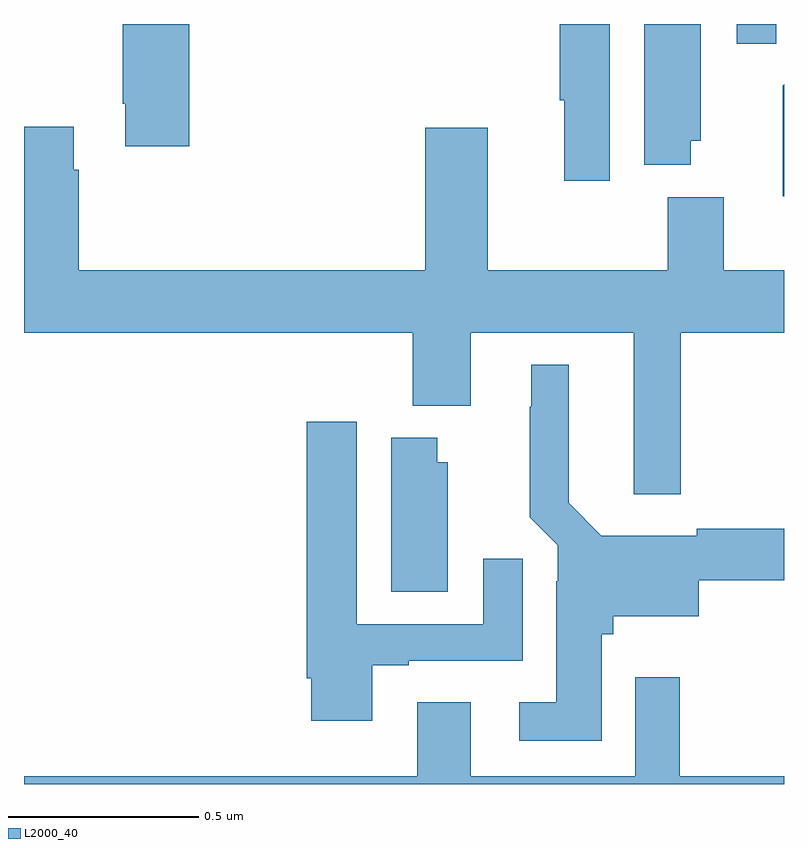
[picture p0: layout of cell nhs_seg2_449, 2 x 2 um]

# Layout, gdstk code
import gdstk
lib = gdstk.Library(unit=1e-6, precision=1e-09)
def R(c, l, rs):  # rectangles x0, y0, x1, y1
    for r in rs: c.add(gdstk.rectangle(r[:2], r[2:], *l))
def P(c, l, *ps):  # polygons
    for p in ps: c.add(gdstk.Polygon(p, *l))
L2000_40 = (2000, 40)

nhs_seg2_449 = lib.new_cell('nhs_seg2_449')
R(nhs_seg2_449, L2000_40, [(117.875,629.748,117.979,629.8)])
P(nhs_seg2_449, L2000_40, [(116.435,629.8),(116.26,629.8),(116.26,629.59),(116.267,629.59),(116.267,629.478),(116.435,629.478)],
  [(117.754,629.493),(117.781,629.493),(117.781,629.8),(117.632,629.8),(117.632,629.429),(117.754,629.429)],
  [(117.541,629.8),(117.41,629.8),(117.41,629.6),(117.422,629.6),(117.422,629.388),(117.541,629.388)],
  [(118,629.641),(117.997,629.638),(117.997,629.347),(118,629.347)],
  [(117.728,628.988),(118,628.988),(118,629.152),(117.841,629.152),(117.841,629.344),(117.694,629.344),(117.694,629.152),(117.22,629.152),(117.22,629.527),(117.056,629.527),(117.056,629.152),(116.144,629.152),(116.144,629.417),(116.131,629.417),(116.131,629.53),(116,629.53),(116,628.988),(117.023,628.988),(117.023,628.796),(117.175,628.796),(117.175,628.988),(117.605,628.988),(117.605,628.563),(117.728,628.563)],
  [(117.52,628.194),(117.551,628.194),(117.551,628.241),(117.775,628.241),(117.775,628.336),(118,628.336),(118,628.472),(117.771,628.472),(117.771,628.453),(117.519,628.453),(117.433,628.54),(117.433,628.903),(117.335,628.903),(117.335,628.793),(117.331,628.793),(117.331,628.502),(117.405,628.428),(117.405,628.334),(117.401,628.334),(117.401,628.015),(117.303,628.015),(117.303,627.914),(117.52,627.914)],
  [(116.917,628.113),(117.013,628.113),(117.013,628.125),(117.313,628.125),(117.313,628.393),(117.209,628.393),(117.209,628.221),(116.875,628.221),(116.875,628.753),(116.744,628.753),(116.744,628.078),(116.756,628.078),(116.756,627.966),(116.917,627.966)],
  [(117.115,628.647),(117.088,628.647),(117.088,628.711),(116.966,628.711),(116.966,628.306),(117.115,628.306)],
  [(118,627.82),(117.725,627.82),(117.725,628.081),(117.609,628.081),(117.609,627.82),(117.175,627.82),(117.175,628.015),(117.035,628.015),(117.035,627.82),(116,627.82),(116,627.8),(118,627.8)])

lib.write_gds('nhs_seg2_449.gds')
